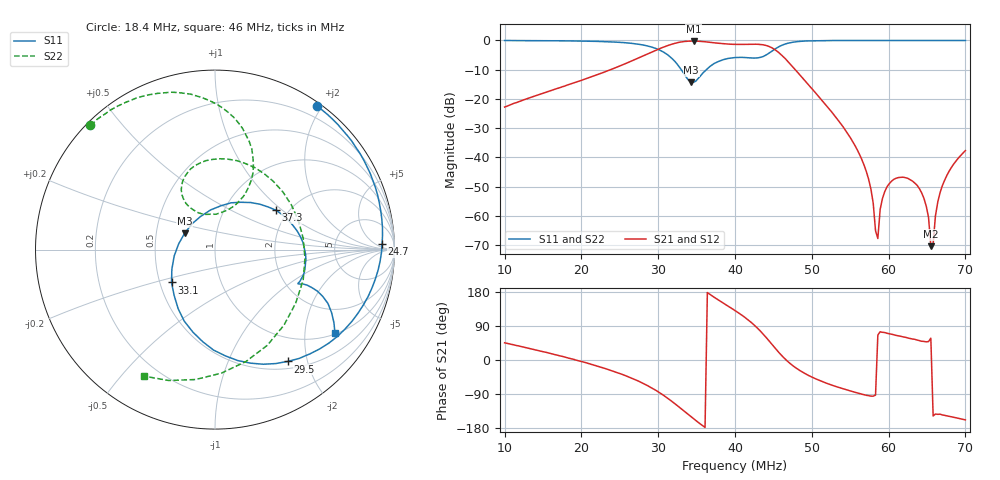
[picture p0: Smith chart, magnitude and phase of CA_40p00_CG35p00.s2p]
#  HZ  S  RI  R  50.00
! Rohde & Schwarz ZVT8 8Ports - Version 4.11 - 1300.0000k08 SN: 100242
! Date: 2026-07-31 14:50:49
! Measurements: S11 S21 S12 S22
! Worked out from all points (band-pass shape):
!   201 points, 10 MHz to 70 MHz, reference 50 ohm
!   highest |S21| = -0.21 dB at 34.6 MHz (marker M1); lowest = -70.3 dB at 65.5 MHz (marker M2)
!   |S21| within 3 dB of the highest: 29.84 MHz to 45.22 MHz (15.38 MHz wide, 41 % of centre)
!   lowest |S11| = -14.3 dB at 34.3 MHz (marker M3), VSWR 1.48, Z = 35 + j6.61 ohm
!   |S11| at or under -10 dB: 33 MHz to 36.27 MHz (3.267 MHz wide, 9.43 % of centre)
!   |S22| runs from -14.1 to 0.0 dB; largest |S21 - S12| = 0.0044
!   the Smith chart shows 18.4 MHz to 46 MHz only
!   S11 on the Smith chart (normalised r, x): 18.4 MHz: 0.04, +1.93; 24.7 MHz: 23, +11; 29.5 MHz: 0.60, -1.68; 33.1 MHz: 0.58, -0.23; 37.3 MHz: 1.73, +0.91; 46 MHz: 1.03, -2.85
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1e7  -0.4059 0.9098  0.0509 0.0517  0.0507 0.0517  -0.9192 0.3843
1.84e7  0.567 0.8012  0.1762 0.0141  0.1756 0.0142  -0.6948 0.6934
2.02e7  0.735 0.6381  0.2116 -0.0187  0.2108 -0.0187  -0.6177 0.7519
2.47e7  0.9311 0.0306  0.294 -0.1952  0.2937 -0.1932  -0.3442 0.8659
2.95e7  0.4049 -0.6231  0.1406 -0.6472  0.1402 -0.6454  0.103 0.7383
3.01e7  0.2689 -0.6387  0.0595 -0.7125  0.0606 -0.7126  0.1526 0.6766
3.31e7  -0.2423 -0.1832  -0.6128 -0.7213  -0.6129 -0.719  0.1392 0.2742
3.43e7  -0.1694 0.0909  -0.846 -0.4844  -0.8453 -0.4847  0.00523 0.197
3.46e7  -0.127 0.1445  -0.8847 -0.4124  -0.8824 -0.4118  -0.029 0.1968
3.73e7  0.3402 0.2189  -0.8799 0.2288  -0.8805 0.2273  -0.1856 0.3569
4e7  0.5066 -0.0535  -0.5558 0.6504  -0.5547 0.6504  0.0281 0.5061
4.36e7  0.4897 -0.1914  0.2911 0.7926  0.289 0.7912  0.4912 -0.1703
4.6e7  0.6687 -0.4649  0.555 0.1321  0.5562 0.1334  -0.397 -0.7047
5.02e7  0.1569 -0.9748  0.0958 -0.1021  0.0961 -0.1021  -0.9579 0.2324
5.65e7  -0.6461 -0.7598  -1.2e-05 -0.00928  1.39e-05 -0.00925  -0.6193 0.7798
5.86e7  -0.8202 -0.5691  0.000168 0.000375  0.000181 0.000372  -0.504 0.8594
5.89e7  -0.8393 -0.5382  0.000346 0.00124  0.000355 0.00119  -0.4882 0.8681
6.01e7  -0.9067 -0.412  0.00127 0.00334  0.00127 0.00335  -0.4248 0.9016
6.4e7  -0.995 0.0342  0.00184 0.00229  0.00182 0.00225  -0.2273 0.9712
6.55e7  -0.9751 0.2061  0.000163 0.000256  0.000161 0.000269  -0.1542 0.984
6.7e7  -0.9236 0.3728  -0.00269 -0.00189  -0.00267 -0.00188  -0.0824 0.9928
7e7  -0.7413 0.6661  -0.0121 -0.00489  -0.0121 -0.00488  0.0571 0.9957
